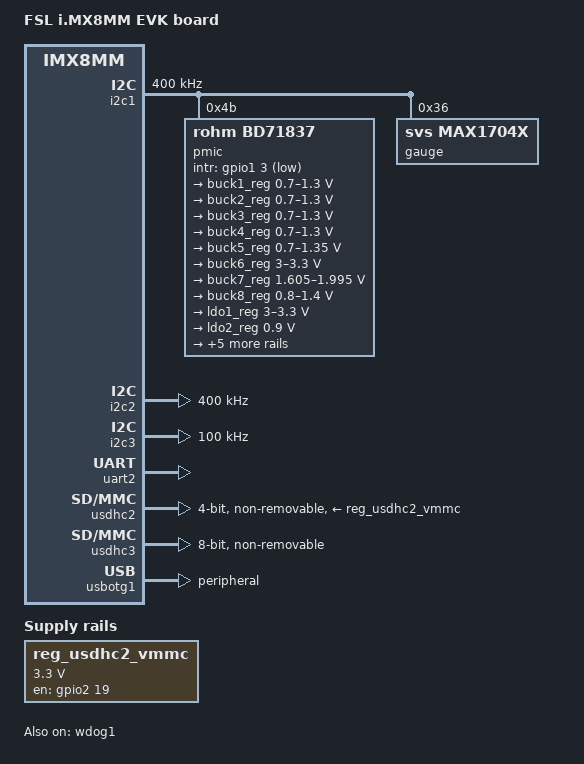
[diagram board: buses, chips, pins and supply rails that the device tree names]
/*
 * Copyright 2018 NXP
 * Copyright 2019 Sony Home Entertainment & Sound Products Inc.
 *
 * This program is free software; you can redistribute it and/or
 * modify it under the terms of the GNU General Public License
 * as published by the Free Software Foundation; either version 2
 * of the License, or (at your option) any later version.
 *
 * This program is distributed in the hope that it will be useful,
 * but WITHOUT ANY WARRANTY; without even the implied warranty of
 * MERCHANTABILITY or FITNESS FOR A PARTICULAR PURPOSE.  See the
 * GNU General Public License for more details.
 */

/dts-v1/;

#include "fsl-imx8mm.dtsi"
#include <dt-bindings/gpio/icx_port_init_dt.h>

/ {
	model = "FSL i.MX8MM EVK board";
	compatible = "fsl,imx8mm-evk", "fsl,imx8mm";

	chosen {
		bootargs = "console=ttymxc1,115200 earlycon=ec_imx6q,0x30890000,115200";
		stdout-patch = &uart2;
	};

	reg_usdhc2_vmmc: regulator-usdhc2 {
		compatible = "regulator-fixed";
		regulator-name = "VSD_3V3";
		regulator-min-microvolt = <3300000>;
		regulator-max-microvolt = <3300000>;
		gpio = <&gpio2 19 GPIO_ACTIVE_HIGH>;
		enable-active-high;
		startup-delay-us = <100>;
		off-on-delay-us = <12000>;
	};
};

&iomuxc {
	pinctrl-names = "default";
	pinctrl-0 = <&pinctrl_hog_1>;

	imx8mm-evk {
		pinctrl_hog_1: hoggrp-1 {
			fsl,pins = <
				MX8MM_IOMUXC_GPIO1_IO08_GPIO1_IO8		0x118
			>;
		};

		pinctrl_fec1: fec1grp {
			fsl,pins = <
				MX8MM_IOMUXC_ENET_MDC_ENET1_MDC		0x3
				MX8MM_IOMUXC_ENET_MDIO_ENET1_MDIO	0x3
				MX8MM_IOMUXC_ENET_TD3_ENET1_RGMII_TD3	0x1f
				MX8MM_IOMUXC_ENET_TD2_ENET1_RGMII_TD2	0x1f
				MX8MM_IOMUXC_ENET_TD1_ENET1_RGMII_TD1	0x1f
				MX8MM_IOMUXC_ENET_TD0_ENET1_RGMII_TD0	0x1f
				MX8MM_IOMUXC_ENET_RD3_ENET1_RGMII_RD3	0x91
				MX8MM_IOMUXC_ENET_RD2_ENET1_RGMII_RD2	0x91
				MX8MM_IOMUXC_ENET_RD1_ENET1_RGMII_RD1	0x91
				MX8MM_IOMUXC_ENET_RD0_ENET1_RGMII_RD0	0x91
				MX8MM_IOMUXC_ENET_TXC_ENET1_RGMII_TXC	0x1f
				MX8MM_IOMUXC_ENET_RXC_ENET1_RGMII_RXC	0x91
				MX8MM_IOMUXC_ENET_RX_CTL_ENET1_RGMII_RX_CTL	0x91
				MX8MM_IOMUXC_ENET_TX_CTL_ENET1_RGMII_TX_CTL	0x1f
				MX8MM_IOMUXC_SAI2_RXC_GPIO4_IO22	0x19
			>;
		};

		pinctrl_flexspi0: flexspi0grp {
			fsl,pins = <
				MX8MM_IOMUXC_NAND_ALE_QSPI_A_SCLK 0x1c4
				MX8MM_IOMUXC_NAND_CE0_B_QSPI_A_SS0_B 0x84

				MX8MM_IOMUXC_NAND_DATA00_QSPI_A_DATA0 0x84
				MX8MM_IOMUXC_NAND_DATA01_QSPI_A_DATA1 0x84
				MX8MM_IOMUXC_NAND_DATA02_QSPI_A_DATA2 0x84
				MX8MM_IOMUXC_NAND_DATA03_QSPI_A_DATA3 0x84
			>;
		};

		pinctrl_i2c1: i2c1grp {
			fsl,pins = <
				MX8MM_IOMUXC_I2C1_SCL_I2C1_SCL			0x400001c3
				MX8MM_IOMUXC_I2C1_SDA_I2C1_SDA			0x400001c3
			>;
		};

		pinctrl_i2c2: i2c2grp {
			fsl,pins = <
				MX8MM_IOMUXC_I2C2_SCL_I2C2_SCL			0x400001c3
				MX8MM_IOMUXC_I2C2_SDA_I2C2_SDA			0x400001c3
			>;
		};

		pinctrl_i2c3: i2c3grp {
			fsl,pins = <
				MX8MM_IOMUXC_I2C3_SCL_I2C3_SCL			0x400001c3
				MX8MM_IOMUXC_I2C3_SDA_I2C3_SDA			0x400001c3
			>;
		};

		pinctrl_pmic: pmicirq {
			fsl,pins = <
				MX8MM_IOMUXC_GPIO1_IO03_GPIO1_IO3		0x41
			>;
		};

		pinctrl_uart2: uart1grp {
			fsl,pins = <
				MX8MM_IOMUXC_UART2_RXD_UART2_DCE_RX	0x49
				MX8MM_IOMUXC_UART2_TXD_UART2_DCE_TX	0x49
			>;
		};

		pinctrl_usdhc2_gpio: usdhc2grpgpio {
			fsl,pins = <
				MX8MM_IOMUXC_SD2_RESET_B_GPIO2_IO19	0x41
			>;
		};

		pinctrl_usdhc2: usdhc2grp {
			fsl,pins = <
				MX8MM_IOMUXC_SD2_CLK_USDHC2_CLK		0x190
				MX8MM_IOMUXC_SD2_CMD_USDHC2_CMD		0x1d0
				MX8MM_IOMUXC_SD2_DATA0_USDHC2_DATA0	0x1d0
				MX8MM_IOMUXC_SD2_DATA1_USDHC2_DATA1	0x1d0
				MX8MM_IOMUXC_SD2_DATA2_USDHC2_DATA2	0x1d0
				MX8MM_IOMUXC_SD2_DATA3_USDHC2_DATA3	0x1d0
				MX8MM_IOMUXC_GPIO1_IO04_USDHC2_VSELECT	0x1d0
			>;
		};

		pinctrl_usdhc2_100mhz: usdhc2grp100mhz {
			fsl,pins = <
				MX8MM_IOMUXC_SD2_CLK_USDHC2_CLK		0x194
				MX8MM_IOMUXC_SD2_CMD_USDHC2_CMD		0x1d4
				MX8MM_IOMUXC_SD2_DATA0_USDHC2_DATA0	0x1d4
				MX8MM_IOMUXC_SD2_DATA1_USDHC2_DATA1	0x1d4
				MX8MM_IOMUXC_SD2_DATA2_USDHC2_DATA2	0x1d4
				MX8MM_IOMUXC_SD2_DATA3_USDHC2_DATA3	0x1d4
				MX8MM_IOMUXC_GPIO1_IO04_USDHC2_VSELECT	0x1d0
			>;
		};

		pinctrl_usdhc2_200mhz: usdhc2grp200mhz {
			fsl,pins = <
				MX8MM_IOMUXC_SD2_CLK_USDHC2_CLK		0x196
				MX8MM_IOMUXC_SD2_CMD_USDHC2_CMD		0x1d6
				MX8MM_IOMUXC_SD2_DATA0_USDHC2_DATA0	0x1d6
				MX8MM_IOMUXC_SD2_DATA1_USDHC2_DATA1	0x1d6
				MX8MM_IOMUXC_SD2_DATA2_USDHC2_DATA2	0x1d6
				MX8MM_IOMUXC_SD2_DATA3_USDHC2_DATA3	0x1d6
				MX8MM_IOMUXC_GPIO1_IO04_USDHC2_VSELECT	0x1d0
			>;
		};

		pinctrl_usdhc3: usdhc3grp {
			fsl,pins = <
				MX8MM_IOMUXC_NAND_WE_B_USDHC3_CLK		0x40000196
				MX8MM_IOMUXC_NAND_WP_B_USDHC3_CMD		0x1d2
				MX8MM_IOMUXC_NAND_DATA04_USDHC3_DATA0		0x1d0
				MX8MM_IOMUXC_NAND_DATA05_USDHC3_DATA1		0x1d0
				MX8MM_IOMUXC_NAND_DATA06_USDHC3_DATA2		0x1d0
				MX8MM_IOMUXC_NAND_DATA07_USDHC3_DATA3		0x1d0
				MX8MM_IOMUXC_NAND_RE_B_USDHC3_DATA4		0x1d0
				MX8MM_IOMUXC_NAND_CE2_B_USDHC3_DATA5		0x1d0
				MX8MM_IOMUXC_NAND_CE3_B_USDHC3_DATA6		0x1d0
				MX8MM_IOMUXC_NAND_CLE_USDHC3_DATA7		0x1d0
				MX8MM_IOMUXC_NAND_CE1_B_USDHC3_STROBE 		0x190
			>;
		};

		pinctrl_usdhc3_100mhz: usdhc3grp100mhz {
			fsl,pins = <
				MX8MM_IOMUXC_NAND_WE_B_USDHC3_CLK		0x40000196
				MX8MM_IOMUXC_NAND_WP_B_USDHC3_CMD		0x1d2
				MX8MM_IOMUXC_NAND_DATA04_USDHC3_DATA0		0x1d0
				MX8MM_IOMUXC_NAND_DATA05_USDHC3_DATA1		0x1d0
				MX8MM_IOMUXC_NAND_DATA06_USDHC3_DATA2		0x1d0
				MX8MM_IOMUXC_NAND_DATA07_USDHC3_DATA3		0x1d0
				MX8MM_IOMUXC_NAND_RE_B_USDHC3_DATA4		0x1d0
				MX8MM_IOMUXC_NAND_CE2_B_USDHC3_DATA5		0x1d0
				MX8MM_IOMUXC_NAND_CE3_B_USDHC3_DATA6		0x1d0
				MX8MM_IOMUXC_NAND_CLE_USDHC3_DATA7		0x1d0
				MX8MM_IOMUXC_NAND_CE1_B_USDHC3_STROBE 		0x190
			>;
		};

		pinctrl_usdhc3_200mhz: usdhc3grp200mhz {
			fsl,pins = <
				MX8MM_IOMUXC_NAND_WE_B_USDHC3_CLK		0x40000196
				MX8MM_IOMUXC_NAND_WP_B_USDHC3_CMD		0x1d2
				MX8MM_IOMUXC_NAND_DATA04_USDHC3_DATA0		0x1d0
				MX8MM_IOMUXC_NAND_DATA05_USDHC3_DATA1		0x1d0
				MX8MM_IOMUXC_NAND_DATA06_USDHC3_DATA2		0x1d0
				MX8MM_IOMUXC_NAND_DATA07_USDHC3_DATA3		0x1d0
				MX8MM_IOMUXC_NAND_RE_B_USDHC3_DATA4		0x1d0
				MX8MM_IOMUXC_NAND_CE2_B_USDHC3_DATA5		0x1d0
				MX8MM_IOMUXC_NAND_CE3_B_USDHC3_DATA6		0x1d0
				MX8MM_IOMUXC_NAND_CLE_USDHC3_DATA7		0x1d0
				MX8MM_IOMUXC_NAND_CE1_B_USDHC3_STROBE 		0x190
			>;
		};

		pinctrl_wdog: wdoggrp {
			fsl,pins = <
				MX8MM_IOMUXC_GPIO1_IO02_WDOG1_WDOG_B		0xc6
			>;
		};

		/* TODO: Move pins to related device's pinctrl/group. */
		pinctrl_icx_port_init: icxportinitgrp {
			fsl,pins = <
		/* KEY_PLAY */	MX8MM_IOMUXC_NAND_DATA01_GPIO3_IO7		 0x86
		/* KEY_VOL+ */	MX8MM_IOMUXC_NAND_READY_B_GPIO3_IO16		 0x86
		/* KEY_VOL- */	MX8MM_IOMUXC_SAI1_RXFS_GPIO4_IO0		 0x86
		/* KEY_FF   */	MX8MM_IOMUXC_SAI3_RXFS_GPIO4_IO28		 0x86
		/* KEY_FR   */	MX8MM_IOMUXC_SPDIF_RX_GPIO5_IO4			 0x86
		/* KEY_HOLD */	MX8MM_IOMUXC_ECSPI1_MISO_GPIO5_IO8		 0x86
		/* LCD_RSTX */	MX8MM_IOMUXC_GPIO1_IO08_GPIO1_IO8    /* Ol  */	 0x118
		/* LCD_TE */	MX8MM_IOMUXC_ENET_RD2_GPIO1_IO28     /* I  */	 0x80
		/* USBC_XINT */	MX8MM_IOMUXC_NAND_DATA00_GPIO3_IO6   /* Iu */	0x1c0
		/* GPS_XRST */	MX8MM_IOMUXC_NAND_DQS_GPIO3_IO14     /* Ol */	0x080
		/* GPIO4_IO4 */	MX8MM_IOMUXC_SAI1_RXD2_GPIO4_IO4     /* I  */	 0x80
		/* CHG_XINT */	MX8MM_IOMUXC_SAI1_RXD5_GPIO4_IO7     /* Iu */	0x1c0
		/* USBC_ID */	MX8MM_IOMUXC_SAI1_TXD1_GPIO4_IO13    /* Iu */	0x1c0
		/* */		MX8MM_IOMUXC_SAI1_TXD6_GPIO4_IO18    /* Id */	0x180
		/* OTG_EN */	MX8MM_IOMUXC_SAI1_TXD7_GPIO4_IO19    /* Ol */	0x080
		/* VBUSXDET_LV*/MX8MM_IOMUXC_SAI2_RXC_GPIO4_IO22     /* Iu */	0x1c0
		/* PCM_IN */    MX8MM_IOMUXC_SAI2_RXD0_GPIO4_IO23    /* Id */   0x116
		/* PCM_SYNC */  MX8MM_IOMUXC_SAI2_TXFS_GPIO4_IO24    /* Id */   0x116
		/* PCM_CLK */   MX8MM_IOMUXC_SAI2_TXC_GPIO4_IO25     /* Id */   0x116
		/* PCM_OUT */   MX8MM_IOMUXC_SAI2_TXD0_GPIO4_IO26    /* Id */   0x116
		/* GAUGE_XINT*/	MX8MM_IOMUXC_SAI2_MCLK_GPIO4_IO27    /* Iu */	0x1c0
		/* ACC_XINT1 */	MX8MM_IOMUXC_SAI3_RXC_GPIO4_IO29     /* Iu */	0x1c0
		/* SD_XINS/SD_INS */ MX8MM_IOMUXC_SPDIF_TX_GPIO5_IO3 /* I */	0x080
		/* XPWR_KEY_LV*/MX8MM_IOMUXC_SPDIF_EXT_CLK_GPIO5_IO5 /* Iu */	0x1c0
		/* RME_SPI_CS*/ MX8MM_IOMUXC_ECSPI1_SS0_GPIO5_IO9    /* Oh */	0x086
		/* PMIC_INT */	MX8MM_IOMUXC_GPIO1_IO03_GPIO1_IO3    /* Iu */	0x1c0
		/* OSC_FS48_EN*/MX8MM_IOMUXC_GPIO1_IO10_GPIO1_IO10   /* Ol */	0x080
		/* SID1 */	MX8MM_IOMUXC_GPIO1_IO15_GPIO1_IO15   /* I  */	0x080
		/* UCON_XFWUPDATE*/MX8MM_IOMUXC_ENET_TXC_GPIO1_IO23  /* Ol */	0x080
		/* UCON_XRESET/RME_XRST*/MX8MM_IOMUXC_ENET_RD0_GPIO1_IO26/* Ol */0x080
		/* OSC_FS441_EN*/MX8MM_IOMUXC_NAND_CE0_B_GPIO3_IO1   /* Ol */	0x080
		/* */		MX8MM_IOMUXC_SAI1_RXD1_GPIO4_IO3     /* I  */	0x080
		/* */		MX8MM_IOMUXC_SAI1_TXD3_GPIO4_IO15    /* I  */	0x080
		/* */		MX8MM_IOMUXC_SAI1_TXD5_GPIO4_IO17    /* I  */	0x080
		/* BT_WAKE_HOST*/MX8MM_IOMUXC_SD1_DATA6_GPIO2_IO8    /* Iu */	0x146
		/* BID-1 */	MX8MM_IOMUXC_SAI1_TXFS_GPIO4_IO10    /* I  */	0x080
		/* BID-2 */	MX8MM_IOMUXC_SAI1_TXC_GPIO4_IO11     /* I  */	0x080
		/* BID-3 */	MX8MM_IOMUXC_SAI1_RXC_GPIO4_IO1      /* I  */	0x080
		/* SID0 */	MX8MM_IOMUXC_GPIO1_IO05_GPIO1_IO5    /* Iu */	0x1c0
		/* */		MX8MM_IOMUXC_SAI1_RXD6_GPIO4_IO8     /* Id */	0x180
		/* */		MX8MM_IOMUXC_SD2_CD_B_GPIO2_IO12     /* Iu */	0x1c0
		/* LPA_POFF */	MX8MM_IOMUXC_SAI1_RXD3_GPIO4_IO5     /* Ol */	0x080
			>;
		};

		pinctrl_board_id_bb: boardidbb {
			fsl,pins = <
		/* SDCARD INS*/ MX8MM_IOMUXC_SD2_CD_B_GPIO2_IO12     /* Iu */	0x1c0
		/* */		MX8MM_IOMUXC_SAI1_RXD3_GPIO4_IO5     /* Id */	0x180
		/* WR_LED_CTL*/ MX8MM_IOMUXC_SPDIF_TX_GPIO5_IO3      /* Ol */	0x080
			>;
		};

		pinctrl_board_id_lf: boardidlf {
			fsl,pins = <
		/* SDCARD INS*/ MX8MM_IOMUXC_SD2_CD_B_GPIO2_IO12     /* I  */	0x080
		/* */		MX8MM_IOMUXC_SAI1_RXD3_GPIO4_IO5     /* Id */	0x180
		/* WR_LED_CTL*/ MX8MM_IOMUXC_SPDIF_TX_GPIO5_IO3      /* Ol */	0x080
			>;
		};
	};
};

/ {
	icx_port_init: icxportinit {
		compatible = "svs,icx-port-init";
		status = "okay";

		pinctrl-names = "default";
		pinctrl-0 = <&pinctrl_icx_port_init>;
		svs,port-init =
			<IMX_GPIO_NR(3,  7) ICX_PORT_INIT_IN>,   "KEY_PLAY",
			<IMX_GPIO_NR(3, 16) ICX_PORT_INIT_IN>,   "KEY_VOL_P",
			<IMX_GPIO_NR(4,  0) ICX_PORT_INIT_IN>,   "KEY_VOL_M",
			<IMX_GPIO_NR(4, 28) ICX_PORT_INIT_IN>,   "KEY_FF",
			<IMX_GPIO_NR(5,  4) ICX_PORT_INIT_IN>,   "KEY_FR",
			<IMX_GPIO_NR(5,  8) ICX_PORT_INIT_IN>,   "KEY_HOLD",
			<IMX_GPIO_NR(1,  8) ICX_PORT_INIT_LOW>,  "LCD_RSTX",
			<IMX_GPIO_NR(1, 28) ICX_PORT_INIT_IN>,   "LCD_TE",
			<IMX_GPIO_NR(3,  6) ICX_PORT_INIT_IN>,   "USBC_XINT",
			<IMX_GPIO_NR(3, 14) ICX_PORT_INIT_LOW>,  "GPS_XRST",
			<IMX_GPIO_NR(4,  4) ICX_PORT_INIT_IN>,   "GPIO4_IO4_NC",
			<IMX_GPIO_NR(4,  7) ICX_PORT_INIT_IN>,   "CHG_XINT",
			<IMX_GPIO_NR(4, 13) ICX_PORT_INIT_IN>,   "USBC_ID",
			<IMX_GPIO_NR(4, 18) ICX_PORT_INIT_IN>,   "",
			<IMX_GPIO_NR(4, 19) ICX_PORT_INIT_LOW>,  "OTG_EN",
			<IMX_GPIO_NR(4, 22) ICX_PORT_INIT_IN>,   "VBUSXDET_LV",
			<IMX_GPIO_NR(4, 23) ICX_PORT_INIT_IN>,   "PCM_IN",
			<IMX_GPIO_NR(4, 24) ICX_PORT_INIT_IN>,   "PCM_SYNC",
			<IMX_GPIO_NR(4, 25) ICX_PORT_INIT_IN>,   "PCM_CLK",
			<IMX_GPIO_NR(4, 26) ICX_PORT_INIT_IN>,   "PCM_OUT",
			<IMX_GPIO_NR(4, 27) ICX_PORT_INIT_IN>,   "GAUGE_XINT",
			<IMX_GPIO_NR(4, 29) ICX_PORT_INIT_IN>,   "ACC_XINT",
			<IMX_GPIO_NR(5,  3) ICX_PORT_INIT_IN>,   "SD_XINS/SD_INS",
			<IMX_GPIO_NR(5,  5) ICX_PORT_INIT_IN>,   "XPWR_KEY_LV",
			<IMX_GPIO_NR(5,  9) ICX_PORT_INIT_HIGH>, "RME_SPI_CS",
			<IMX_GPIO_NR(1,  3) ICX_PORT_INIT_IN>,   "PMIC_INT",
			<IMX_GPIO_NR(1, 10) ICX_PORT_INIT_LOW>,  "OSC_FS48_EN",
			<IMX_GPIO_NR(1, 15) ICX_PORT_INIT_IN>,   "SID1",
			<IMX_GPIO_NR(1, 23) ICX_PORT_INIT_LOW>,  "UCON_XFWUPDATE",
			<IMX_GPIO_NR(1, 26) ICX_PORT_INIT_LOW>,  "UCON_XRESET/RME_XRST",
			<IMX_GPIO_NR(3,  1) ICX_PORT_INIT_LOW>,  "OSC_FS441_EN",
			<IMX_GPIO_NR(4,  3) ICX_PORT_INIT_IN>,   "",
			<IMX_GPIO_NR(4, 15) ICX_PORT_INIT_IN>,   "",
			<IMX_GPIO_NR(4, 17) ICX_PORT_INIT_IN>,   "",
			<IMX_GPIO_NR(2,  8) ICX_PORT_INIT_IN>,   "BT_WAKE_HOST",
			<IMX_GPIO_NR(4, 10) ICX_PORT_INIT_IN>,   "BID-1",
			<IMX_GPIO_NR(4, 11) ICX_PORT_INIT_IN>,   "BID-2",
			<IMX_GPIO_NR(4,  1) ICX_PORT_INIT_IN>,   "BID-3",
			<IMX_GPIO_NR(1,  5) ICX_PORT_INIT_IN>,   "SID0",
			<IMX_GPIO_NR(4,  8) ICX_PORT_INIT_IN>,   "",
			<IMX_GPIO_NR(2, 12) ICX_PORT_INIT_IN>,   "",
			<IMX_GPIO_NR(4,  5) ICX_PORT_INIT_LOW>,  "LPA_POFF"
		;
	};

	icx_dmp_board_id {
		compatible = "svs,icx-dmp-board-id";
		pinctrl-names = "BB", "LF";
		pinctrl-0 = <&pinctrl_board_id_bb>;
		pinctrl-1 = <&pinctrl_board_id_lf>;
	};
};

&i2c1 {
	clock-frequency = <400000>;
	pinctrl-names = "default";
	pinctrl-0 = <&pinctrl_i2c1>;
	status = "okay";

	pmic: bd71837@4b {
		reg = <0x4b>;
		compatible = "rohm,bd71837";
		/* PMIC BD71837 PMIC_nINT GPIO1_IO3 */
		pinctrl-0 = <&pinctrl_pmic>;
		gpio_intr = <&gpio1 3 GPIO_ACTIVE_LOW>;

		gpo {
			rohm,drv = <0x0C>;	/* 0b0000_1100 all gpos with cmos output mode */
		};

		regulators {
			#address-cells = <1>;
			#size-cells = <0>;

			bd71837,pmic-buck2-uses-i2c-dvs;
			bd71837,pmic-buck2-dvs-voltage = <1000000>, <900000>, <0>; /* VDD_ARM: Run-Idle */

			buck1_reg: regulator@0 {
				reg = <0>;
				regulator-compatible = "buck1";
				regulator-min-microvolt = <700000>;
				regulator-max-microvolt = <1300000>;
				regulator-boot-on;
				regulator-always-on;
				regulator-ramp-delay = <1250>;
			};

			buck2_reg: regulator@1 {
				reg = <1>;
				regulator-compatible = "buck2";
				regulator-min-microvolt = <700000>;
				regulator-max-microvolt = <1300000>;
				regulator-boot-on;
				regulator-always-on;
				regulator-ramp-delay = <1250>;
			};

			buck3_reg: regulator@2 {
				reg = <2>;
				regulator-compatible = "buck3";
				regulator-min-microvolt = <700000>;
				regulator-max-microvolt = <1300000>;
			};

			buck4_reg: regulator@3 {
				reg = <3>;
				regulator-compatible = "buck4";
				regulator-min-microvolt = <700000>;
				regulator-max-microvolt = <1300000>;
			};

			buck5_reg: regulator@4 {
				reg = <4>;
				regulator-compatible = "buck5";
				regulator-min-microvolt = <700000>;
				regulator-max-microvolt = <1350000>;
				regulator-boot-on;
				regulator-always-on;
			};

			buck6_reg: regulator@5 {
				reg = <5>;
				regulator-compatible = "buck6";
				regulator-min-microvolt = <3000000>;
				regulator-max-microvolt = <3300000>;
				regulator-boot-on;
				regulator-always-on;
			};

			buck7_reg: regulator@6 {
				reg = <6>;
				regulator-compatible = "buck7";
				regulator-min-microvolt = <1605000>;
				regulator-max-microvolt = <1995000>;
				regulator-boot-on;
				regulator-always-on;
			};

			buck8_reg: regulator@7 {
				reg = <7>;
				regulator-compatible = "buck8";
				regulator-min-microvolt = <800000>;
				regulator-max-microvolt = <1400000>;
				regulator-boot-on;
				regulator-always-on;
			};

			ldo1_reg: regulator@8 {
				reg = <8>;
				regulator-compatible = "ldo1";
				regulator-min-microvolt = <3000000>;
				regulator-max-microvolt = <3300000>;
				regulator-boot-on;
				regulator-always-on;
			};

			ldo2_reg: regulator@9 {
				reg = <9>;
				regulator-compatible = "ldo2";
				regulator-min-microvolt = <900000>;
				regulator-max-microvolt = <900000>;
				regulator-boot-on;
				regulator-always-on;
			};

			ldo3_reg: regulator@10 {
				reg = <10>;
				regulator-compatible = "ldo3";
				regulator-min-microvolt = <1800000>;
				regulator-max-microvolt = <3300000>;
				regulator-boot-on;
				regulator-always-on;
			};

			ldo4_reg: regulator@11 {
				reg = <11>;
				regulator-compatible = "ldo4";
				regulator-min-microvolt = <900000>;
				regulator-max-microvolt = <1800000>;
				regulator-boot-on;
				regulator-always-on;
			};

			ldo5_reg: regulator@12 {
				reg = <12>;
				regulator-compatible = "ldo5";
				regulator-min-microvolt = <1800000>;
				regulator-max-microvolt = <3300000>;
			};

			ldo6_reg: regulator@13 {
				reg = <13>;
				regulator-compatible = "ldo6";
				regulator-min-microvolt = <900000>;
				regulator-max-microvolt = <1800000>;
				regulator-boot-on;
				regulator-always-on;
			};

			ldo7_reg: regulator@14 {
				reg = <14>;
				regulator-compatible = "ldo7";
				regulator-min-microvolt = <1800000>;
				regulator-max-microvolt = <3300000>;
			};
		};
	};
	gauge: max1704x@36 {
		reg = <0x36>;
		compatible = "svs,max1704x";
		vcell_reset = <2480000>; /* uV */
		/* Battery model (ICX1293/ICX1295) */
		empty_adjustment = <0>, <0>;
		full_adjustment = <100>, <100>;
		rcomp0 = <60>, <64>;
		temp_co_up = <(-0)>, <(-15625)>; /* x100000 */
		temp_co_down = <(-350000)>, <(-525000)>; /* x100000 */
		ocv_test = <55648>, <55632>;
		soc_check_a = <104>, <104>;
		soc_check_b = <106>, <106>;
		bits = <18>, <18>;
		rcomp_seg = <0x0100>, <0x0100>;
		model_data = [
			AA 80 B6 10 B9 50 BA 80 BB B0 BC 70 BD 40 BE 10
			BF 00 C0 00 C1 20 C3 60 C5 80 C8 20 CD 90 CF 60
			00 80 0E 00 13 40 0F F0 20 90 2A F0 24 20 1F 20
			10 70 0E A0 0E 00 0C E0 0E D0 0A A0 02 00 02 00
		], [
			A4 10 B5 20 B8 90 BB 20 BB E0 BC 90 BD 10 BD A0
			BE 50 BF 20 C0 F0 C3 10 C5 60 C7 90 CD 70 CF 50
			00 20 0C 50 10 90 1C 60 1F 80 25 60 2A 50 1F 30
			1A 00 10 40 0E 50 0C 40 10 C0 0A 30 02 00 02 00
		];
	};
};

&i2c2 {
	clock-frequency = <400000>;
	pinctrl-names = "default";
	pinctrl-0 = <&pinctrl_i2c2>;
	status = "okay";

	typec_ptn5110_1: ptn5110@50 {
		compatible = "usb,tcpci";
		reg = <0x50>;
		src-pdos = <0x380190c8>;
		snk-pdos = <0x380190c8 0x3802d0c8>;
		max-snk-mv = <9000>;
		max-snk-ma = <2000>;
		op-snk-mw = <9000>;
		max-snk-mw = <18000>;
		port-type = "drp";
		default-role = "sink";
		status = "disabled";
	};

	typec_ptn5110_2: ptn5110@52 {
		compatible = "usb,tcpci";
		reg = <0x52>;
		src-pdos = <0x380190c8>;
		snk-pdos = <0x380190c8 0x3802d0c8>;
		max-snk-mv = <9000>;
		max-snk-ma = <2000>;
		op-snk-mw = <9000>;
		max-snk-mw = <18000>;
		port-type = "drp";
		default-role = "sink";
		status = "disabled";
	};
};

&i2c3 {
	clock-frequency = <100000>;
	pinctrl-names = "default";
	pinctrl-0 = <&pinctrl_i2c3>;
	status = "okay";
};

&flexspi0 {
	pinctrl-names = "default";
	pinctrl-0 = <&pinctrl_flexspi0>;
	status = "disabled";

	flash0: n25q256a@0 {
		reg = <0>;
		#address-cells = <1>;
		#size-cells = <1>;
		compatible = "spi-flash";
		spi-max-frequency = <29000000>;
		spi-nor,ddr-quad-read-dummy = <8>;
	};
};

&fec1 {
	pinctrl-names = "default";
	pinctrl-0 = <&pinctrl_fec1>;
	phy-mode = "rgmii-id";
	phy-handle = <&ethphy0>;
	fsl,magic-packet;
	status = "disabled";

	mdio {
		#address-cells = <1>;
		#size-cells = <0>;

		ethphy0: ethernet-phy@0 {
			compatible = "ethernet-phy-ieee802.3-c22";
			reg = <0>;
			at803x,led-act-blind-workaround;
			at803x,eee-okay;
			at803x,vddio-1p8v;
		};
	};
};

&uart2 { /* console */
	pinctrl-names = "default";
	pinctrl-0 = <&pinctrl_uart2>;
	status = "okay";
};

&usdhc2 {
	pinctrl-names = "default", "state_100mhz", "state_200mhz";
	pinctrl-0 = <&pinctrl_usdhc2>, <&pinctrl_usdhc2_gpio>;
	pinctrl-1 = <&pinctrl_usdhc2_100mhz>, <&pinctrl_usdhc2_gpio>;
	pinctrl-2 = <&pinctrl_usdhc2_200mhz>, <&pinctrl_usdhc2_gpio>;
	bus-width = <4>;
	non-removable;
	vmmc-supply = <&reg_usdhc2_vmmc>;
	status = "okay";
};

&usdhc3 {
	pinctrl-names = "default", "state_100mhz", "state_200mhz";
	pinctrl-0 = <&pinctrl_usdhc3>;
	pinctrl-1 = <&pinctrl_usdhc3_100mhz>;
	pinctrl-2 = <&pinctrl_usdhc3_200mhz>;
	bus-width = <8>;
	non-removable;
	status = "okay";
};

&wdog1 {
	pinctrl-names = "default";
	pinctrl-0 = <&pinctrl_wdog>;
	fsl,ext-reset-output;
	status = "okay";
};

&A53_0 {
	arm-supply = <&buck2_reg>;
};

&usbotg1 {
	status = "okay";
	dr_mode = "peripheral";
	/* extcon = <&typec_ptn5110_1>; */
};

&usbotg2 {
	status = "disabled";
	extcon = <&typec_ptn5110_2>;
};

/ {
	icx_nvp_init: icxnvpinit {
		compatible = "svs,icx-nvp-init";
		};
};
